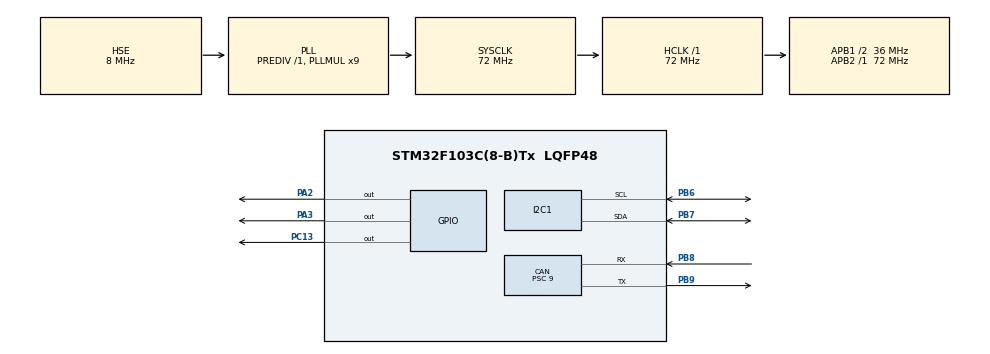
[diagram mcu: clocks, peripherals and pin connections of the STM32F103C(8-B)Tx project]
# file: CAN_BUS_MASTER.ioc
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CAN.BS1=CAN_BS1_10TQ
CAN.BS2=CAN_BS2_5TQ
CAN.CalculateBaudRate=250000
CAN.CalculateTimeBit=4000
CAN.CalculateTimeQuantum=250.0
CAN.Prescaler=9
Mcu.Family=STM32F1
Mcu.Name=STM32F103C(8-B)Tx
Mcu.Package=LQFP48
NVIC.PriorityGroup=NVIC_PRIORITYGROUP_4
PA13.Mode=Serial_Wire
PA13.Signal=SYS_JTMS-SWDIO
PA14.Mode=Serial_Wire
PA14.Signal=SYS_JTCK-SWCLK
PA2.Signal=GPIO_Output
PA3.Signal=GPIO_Output
PB6.Mode=I2C
PB6.Signal=I2C1_SCL
PB7.Mode=I2C
PB7.Signal=I2C1_SDA
PB8.Mode=CAN_Activate
PB8.Signal=CAN_RX
PB9.Mode=CAN_Activate
PB9.Signal=CAN_TX
PC13-TAMPER-RTC.Signal=GPIO_Output
PD0-OSC_IN.Mode=HSE-External-Oscillator
PD0-OSC_IN.Signal=RCC_OSC_IN
PD1-OSC_OUT.Mode=HSE-External-Oscillator
PD1-OSC_OUT.Signal=RCC_OSC_OUT
ProjectManager.HeapSize=0x200
ProjectManager.StackSize=0x400
ProjectManager.TargetToolchain=STM32CubeIDE
RCC.AHBFreq_Value=72000000
RCC.APB1CLKDivider=RCC_HCLK_DIV2
RCC.APB1Freq_Value=36000000
RCC.APB1TimFreq_Value=72000000
RCC.APB2Freq_Value=72000000
RCC.APB2TimFreq_Value=72000000
RCC.HCLKFreq_Value=72000000
RCC.PLLMUL=RCC_PLL_MUL9
RCC.PLLSourceVirtual=RCC_PLLSOURCE_HSE
RCC.SYSCLKFreq_VALUE=72000000
RCC.SYSCLKSource=RCC_SYSCLKSOURCE_PLLCLK
RCC.USBFreq_Value=72000000
board=custom

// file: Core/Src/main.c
/* USER CODE BEGIN Header */
/**
  ******************************************************************************
  * @file           : main.c
  * @brief          : Main program body
  ******************************************************************************
  * @attention
  *
  * Copyright (c) 2024 STMicroelectronics.
  * All rights reserved.
  *
  * This software is licensed under terms that can be found in the LICENSE file
  * in the root directory of this software component.
  * If no LICENSE file comes with this software, it is provided AS-IS.
  *
  ******************************************************************************
  */
/* USER CODE END Header */
#include "main.h"

CAN_HandleTypeDef hcan;

I2C_HandleTypeDef hi2c1;

/* USER CODE BEGIN PV */

CAN_TxHeaderTypeDef pTxHeader;
CAN_RxHeaderTypeDef pRxHeader;

CAN_FilterTypeDef sFilterConfig;

uint32_t pTxMailbox;
uint8_t count = 0;
uint8_t dizi[2];

uint8_t slave1_bat1=0;
uint8_t slave1_bat2=0;

uint8_t b=0;
uint8_t a=1;

/* USER CODE END PV */

void SystemClock_Config(void);
static void MX_GPIO_Init(void);
static void MX_CAN_Init(void);
static void MX_I2C1_Init(void);

int main(void)
{

  /* MCU Configuration--------------------------------------------------------*/

  /* Reset of all peripherals, Initializes the Flash interface and the Systick. */
  HAL_Init();

  /* Configure the system clock */
  SystemClock_Config();

  /* Initialize all configured peripherals */
  MX_GPIO_Init();
  MX_CAN_Init();
  MX_I2C1_Init();
  /* USER CODE BEGIN 2 */

   lcd_init();
   lcd_send_cmd(0x80);
   lcd_send_string(" ADC VERI OKUMA:");

  HAL_CAN_Start(&hcan);
    // enable interrupt
    HAL_CAN_ActivateNotification(&hcan, CAN_IT_RX_FIFO0_MSG_PENDING);
    pTxHeader.DLC = 1;
    pTxHeader.IDE =CAN_ID_STD;
    pTxHeader.RTR =CAN_RTR_DATA;
    pTxHeader.StdId = 0x0303;

    //set filter parameters
    sFilterConfig.FilterActivation = ENABLE;
    sFilterConfig.FilterBank = 0;
    sFilterConfig.FilterFIFOAssignment = CAN_FILTER_FIFO0;
    sFilterConfig.FilterIdHigh = 0x0000 << 5;
    sFilterConfig.FilterIdLow = 0x0000 << 5;
    sFilterConfig.FilterMaskIdHigh = 0x0000 << 5;
    sFilterConfig.FilterMaskIdLow = 0x0000 << 5;
    sFilterConfig.FilterMode = CAN_FILTERMODE_IDMASK;
    sFilterConfig.FilterScale = CAN_FILTERSCALE_32BIT;

    HAL_CAN_ConfigFilter(&hcan, &sFilterConfig);

  /* USER CODE END 2 */

  /* Infinite loop */
  while (1)
  {

    /* USER CODE BEGIN 3 */
	  if(b==0)
	  {
		  count=a;
		 HAL_CAN_AddTxMessage(&hcan, &pTxHeader, &count, pTxMailbox);
		  b=1;
	  }
	  HAL_Delay(50);

	  HAL_CAN_GetRxMessage(&hcan, CAN_RX_FIFO0, &pRxHeader, dizi);

	  if(pRxHeader.StdId ==257)
	  {
		  slave1_bat1=dizi[0];
		  slave1_bat2=dizi[1];

		  b=0;
		 // HAL_GPIO_TogglePin(GPIOC, GPIO_PIN_13);
		 // HAL_Delay(slave1_bat1);

		     lcd_send_cmd(0x01);

		  	    	lcd_send_cmd(0x80);
		  	    	lcd_send_string("  rAdc Value:  ");

		  	    	if(slave1_bat1<9)
		  	    	{

		  	    		  lcd_send_cmd(0xc0);
		  	    		lcd_send_data(slave1_bat1 % 10 + 48 );

		  	    	}
		  	    	else if(slave1_bat1>9 && slave1_bat1 <100)
		  	    	{
		  	    		     lcd_send_cmd(0xc0);
		  	    			lcd_send_data(slave1_bat1 / 10 + 48 );
		  	    			lcd_send_data(slave1_bat1 % 10 + 48);

		  	    	}
		  	    	else
		  	    	{
		  	    		lcd_send_cmd(0xc0);
		  	    		lcd_send_data(slave1_bat1 / 100 + 48);
		  	    		lcd_send_data((slave1_bat1 / 10) % 10 + 48);
		  	    		lcd_send_data(slave1_bat1 % 10 + 48);

		  	    	}

	  }

  }
  /* USER CODE END 3 */
}

void SystemClock_Config(void)
{
  RCC_OscInitTypeDef RCC_OscInitStruct = {0};
  RCC_ClkInitTypeDef RCC_ClkInitStruct = {0};

  /** Initializes the RCC Oscillators according to the specified parameters
  * in the RCC_OscInitTypeDef structure.
  */
  RCC_OscInitStruct.OscillatorType = RCC_OSCILLATORTYPE_HSE;
  RCC_OscInitStruct.HSEState = RCC_HSE_ON;
  RCC_OscInitStruct.HSEPredivValue = RCC_HSE_PREDIV_DIV1;
  RCC_OscInitStruct.HSIState = RCC_HSI_ON;
  RCC_OscInitStruct.PLL.PLLState = RCC_PLL_ON;
  RCC_OscInitStruct.PLL.PLLSource = RCC_PLLSOURCE_HSE;
  RCC_OscInitStruct.PLL.PLLMUL = RCC_PLL_MUL9;
  if (HAL_RCC_OscConfig(&RCC_OscInitStruct) != HAL_OK)
  {
    Error_Handler();
  }

  /** Initializes the CPU, AHB and APB buses clocks
  */
  RCC_ClkInitStruct.ClockType = RCC_CLOCKTYPE_HCLK|RCC_CLOCKTYPE_SYSCLK
                              |RCC_CLOCKTYPE_PCLK1|RCC_CLOCKTYPE_PCLK2;
  RCC_ClkInitStruct.SYSCLKSource = RCC_SYSCLKSOURCE_PLLCLK;
  RCC_ClkInitStruct.AHBCLKDivider = RCC_SYSCLK_DIV1;
  RCC_ClkInitStruct.APB1CLKDivider = RCC_HCLK_DIV2;
  RCC_ClkInitStruct.APB2CLKDivider = RCC_HCLK_DIV1;

  if (HAL_RCC_ClockConfig(&RCC_ClkInitStruct, FLASH_LATENCY_2) != HAL_OK)
  {
    Error_Handler();
  }
}

static void MX_CAN_Init(void)
{

  hcan.Instance = CAN1;
  hcan.Init.Prescaler = 9;
  hcan.Init.Mode = CAN_MODE_NORMAL;
  hcan.Init.SyncJumpWidth = CAN_SJW_1TQ;
  hcan.Init.TimeSeg1 = CAN_BS1_10TQ;
  hcan.Init.TimeSeg2 = CAN_BS2_5TQ;
  hcan.Init.TimeTriggeredMode = DISABLE;
  hcan.Init.AutoBusOff = DISABLE;
  hcan.Init.AutoWakeUp = DISABLE;
  hcan.Init.AutoRetransmission = DISABLE;
  hcan.Init.ReceiveFifoLocked = DISABLE;
  hcan.Init.TransmitFifoPriority = DISABLE;
  if (HAL_CAN_Init(&hcan) != HAL_OK)
  {
    Error_Handler();
  }

}

static void MX_I2C1_Init(void)
{

  hi2c1.Instance = I2C1;
  hi2c1.Init.ClockSpeed = 100000;
  hi2c1.Init.DutyCycle = I2C_DUTYCYCLE_2;
  hi2c1.Init.OwnAddress1 = 0;
  hi2c1.Init.AddressingMode = I2C_ADDRESSINGMODE_7BIT;
  hi2c1.Init.DualAddressMode = I2C_DUALADDRESS_DISABLE;
  hi2c1.Init.OwnAddress2 = 0;
  hi2c1.Init.GeneralCallMode = I2C_GENERALCALL_DISABLE;
  hi2c1.Init.NoStretchMode = I2C_NOSTRETCH_DISABLE;
  if (HAL_I2C_Init(&hi2c1) != HAL_OK)
  {
    Error_Handler();
  }

}

static void MX_GPIO_Init(void)
{
  GPIO_InitTypeDef GPIO_InitStruct = {0};

  /* GPIO Ports Clock Enable */
  __HAL_RCC_GPIOC_CLK_ENABLE();
  __HAL_RCC_GPIOD_CLK_ENABLE();
  __HAL_RCC_GPIOA_CLK_ENABLE();
  __HAL_RCC_GPIOB_CLK_ENABLE();

  /*Configure GPIO pin Output Level */
  HAL_GPIO_WritePin(GPIOC, GPIO_PIN_13, GPIO_PIN_RESET);

  /*Configure GPIO pin Output Level */
  HAL_GPIO_WritePin(GPIOA, GPIO_PIN_2|GPIO_PIN_3, GPIO_PIN_RESET);

  /*Configure GPIO pin : PC13 */
  GPIO_InitStruct.Pin = GPIO_PIN_13;
  GPIO_InitStruct.Mode = GPIO_MODE_OUTPUT_PP;
  GPIO_InitStruct.Pull = GPIO_NOPULL;
  GPIO_InitStruct.Speed = GPIO_SPEED_FREQ_LOW;
  HAL_GPIO_Init(GPIOC, &GPIO_InitStruct);

  /*Configure GPIO pins : PA2 PA3 */
  GPIO_InitStruct.Pin = GPIO_PIN_2|GPIO_PIN_3;
  GPIO_InitStruct.Mode = GPIO_MODE_OUTPUT_PP;
  GPIO_InitStruct.Pull = GPIO_NOPULL;
  GPIO_InitStruct.Speed = GPIO_SPEED_FREQ_LOW;
  HAL_GPIO_Init(GPIOA, &GPIO_InitStruct);

}

void Error_Handler(void)
{
  __disable_irq();
  while (1)
  {
  }
}
